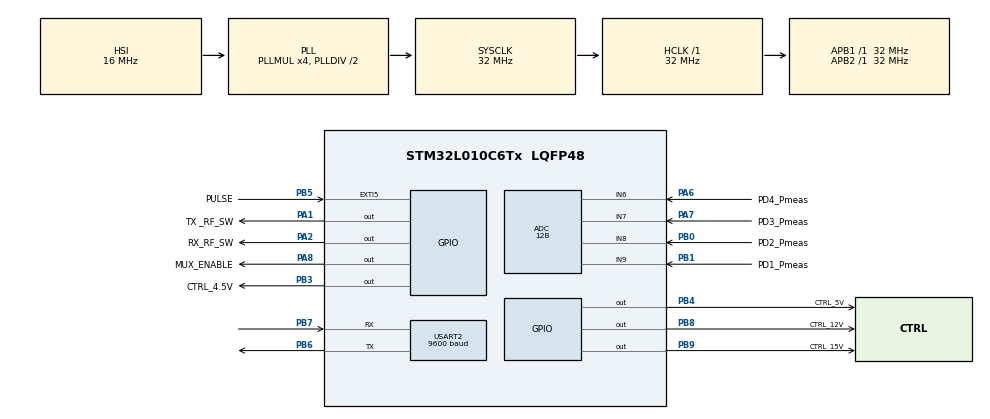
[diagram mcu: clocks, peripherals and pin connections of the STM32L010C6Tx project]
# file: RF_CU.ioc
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ADC.Channel-0\#ChannelRegularConversion=ADC_CHANNEL_6
ADC.Channel-1\#ChannelRegularConversion=ADC_CHANNEL_7
ADC.Channel-2\#ChannelRegularConversion=ADC_CHANNEL_8
ADC.Channel-3\#ChannelRegularConversion=ADC_CHANNEL_9
ADC.ClockPrescaler=ADC_CLOCK_SYNC_PCLK_DIV4
ADC.ContinuousConvMode=ENABLE
ADC.DMAContinuousRequests=DISABLE
ADC.DataAlign=ADC_DATAALIGN_RIGHT
ADC.DiscontinuousConvMode=DISABLE
ADC.EOCSelection=ADC_EOC_SINGLE_CONV
ADC.EnableAnalogWatchDog=false
ADC.ExternalTrigConv=ADC_SOFTWARE_START
ADC.ExternalTrigConvEdge=ADC_EXTERNALTRIGCONVEDGE_NONE
ADC.LowPowerAutoPowerOff=DISABLE
ADC.LowPowerAutoWait=DISABLE
ADC.LowPowerFrequencyMode=DISABLE
ADC.NbrOfConversion=4
ADC.NbrOfConversionFlag=1
ADC.Overrun=ADC_OVR_DATA_PRESERVED
ADC.OversamplingMode=DISABLE
ADC.Rank-0\#ChannelRegularConversion=1
ADC.Rank-1\#ChannelRegularConversion=2
ADC.Rank-2\#ChannelRegularConversion=3
ADC.Rank-3\#ChannelRegularConversion=4
ADC.Resolution=ADC_RESOLUTION_12B
ADC.SamplingTime=ADC_SAMPLETIME_160CYCLES_5
ADC.ScanConvMode=ADC_SCAN_DIRECTION_FORWARD
ADC.master=1
Dma.Request0=USART2_RX
Dma.Request1=USART2_TX
Dma.USART2_RX.0.Direction=DMA_PERIPH_TO_MEMORY
Dma.USART2_RX.0.Instance=DMA1_Channel5
Dma.USART2_RX.0.MemDataAlignment=DMA_MDATAALIGN_BYTE
Dma.USART2_RX.0.MemInc=DMA_MINC_ENABLE
Dma.USART2_RX.0.Mode=DMA_NORMAL
Dma.USART2_RX.0.PeriphDataAlignment=DMA_PDATAALIGN_BYTE
Dma.USART2_RX.0.PeriphInc=DMA_PINC_DISABLE
Dma.USART2_RX.0.Priority=DMA_PRIORITY_LOW
Dma.USART2_TX.1.Direction=DMA_MEMORY_TO_PERIPH
Dma.USART2_TX.1.Instance=DMA1_Channel4
Dma.USART2_TX.1.MemDataAlignment=DMA_MDATAALIGN_BYTE
Dma.USART2_TX.1.MemInc=DMA_MINC_ENABLE
Dma.USART2_TX.1.Mode=DMA_NORMAL
Dma.USART2_TX.1.PeriphDataAlignment=DMA_PDATAALIGN_BYTE
Dma.USART2_TX.1.PeriphInc=DMA_PINC_DISABLE
Dma.USART2_TX.1.Priority=DMA_PRIORITY_LOW
Mcu.Family=STM32L0
Mcu.Name=STM32L010C6Tx
Mcu.Package=LQFP48
NVIC.DMA1_Channel4_5_6_7_IRQn=true\:0\:0\:false\:false\:true\:false\:true
NVIC.EXTI4_15_IRQn=true\:0\:0\:false\:false\:true\:true\:true
NVIC.USART2_IRQn=true\:0\:0\:false\:false\:true\:true\:true
PA1.GPIO_Label=TX _RF_SW
PA1.GPIO_PuPd=GPIO_PULLDOWN
PA1.Signal=GPIO_Output
PA13.Mode=Serial_Wire
PA13.Signal=SYS_SWDIO
PA14.Mode=Serial_Wire
PA14.Signal=SYS_SWCLK
PA2.GPIO_Label=RX_RF_SW
PA2.GPIO_PuPd=GPIO_PULLDOWN
PA2.Signal=GPIO_Output
PA6.GPIO_Label=PD4_Pmeas
PA6.Mode=IN6
PA6.Signal=ADC_IN6
PA7.GPIO_Label=PD3_Pmeas
PA7.Mode=IN7
PA7.Signal=ADC_IN7
PA8.GPIO_Label=MUX_ENABLE
PA8.GPIO_PuPd=GPIO_PULLDOWN
PA8.Signal=GPIO_Output
PB0.GPIO_Label=PD2_Pmeas
PB0.Mode=IN8
PB0.Signal=ADC_IN8
PB1.GPIO_Label=PD1_Pmeas
PB1.Mode=IN9
PB1.Signal=ADC_IN9
PB3.GPIO_Label=CTRL_4.5V
PB3.GPIO_PuPd=GPIO_PULLDOWN
PB3.Signal=GPIO_Output
PB4.GPIO_Label=CTRL_5V
PB4.GPIO_PuPd=GPIO_PULLDOWN
PB4.Signal=GPIO_Output
PB5.GPIO_Label=PULSE
PB5.GPIO_ModeDefaultEXTI=GPIO_MODE_IT_RISING_FALLING
PB5.Signal=GPXTI5
PB6.Mode=Asynchronous
PB6.Signal=USART2_TX
PB7.Mode=Asynchronous
PB7.Signal=USART2_RX
PB8.GPIO_Label=CTRL_12V
PB8.Signal=GPIO_Output
PB9.GPIO_Label=CTRL_15V
PB9.Signal=GPIO_Output
PH0-OSC_IN.Mode=HSE-External-Oscillator
PH0-OSC_IN.Signal=RCC_OSC_IN
PH1-OSC_OUT.Mode=HSE-External-Oscillator
PH1-OSC_OUT.Signal=RCC_OSC_OUT
ProjectManager.HeapSize=0x200
ProjectManager.StackSize=0x400
ProjectManager.TargetToolchain=STM32CubeIDE
RCC.AHBFreq_Value=32000000
RCC.APB1Freq_Value=32000000
RCC.APB1TimFreq_Value=32000000
RCC.APB2Freq_Value=32000000
RCC.APB2TimFreq_Value=32000000
RCC.FLatency=FLASH_LATENCY_1
RCC.HCLKFreq_Value=32000000
RCC.HSE_VALUE=8000000
RCC.HSI16_VALUE=16000000
RCC.HSI_VALUE=16000000
RCC.LSE_VALUE=32768
RCC.MSI_VALUE=2097000
RCC.PLLMUL=RCC_PLLMUL_4
RCC.SYSCLKFreq_VALUE=32000000
RCC.SYSCLKSource=RCC_SYSCLKSOURCE_PLLCLK
RCC.VCOOutputFreq_Value=64000000
USART2.BaudRate=9600
USART2.DMADisableonRxErrorParam=ADVFEATURE_DMA_ENABLEONRXERROR
USART2.DataInvertParam=ADVFEATURE_DATAINV_DISABLE
USART2.MSBFirstParam=ADVFEATURE_MSBFIRST_DISABLE
USART2.Mode=MODE_TX_RX
USART2.OneBitSampling=UART_ONE_BIT_SAMPLE_DISABLE
USART2.OverSampling=UART_OVERSAMPLING_16
USART2.OverrunDisableParam=ADVFEATURE_OVERRUN_ENABLE
USART2.Parity=PARITY_NONE
USART2.RxPinLevelInvertParam=ADVFEATURE_RXINV_DISABLE
USART2.StopBits=STOPBITS_1
USART2.SwapParam=ADVFEATURE_SWAP_DISABLE
USART2.TxPinLevelInvertParam=ADVFEATURE_TXINV_DISABLE
USART2.VirtualMode=VM_ASYNC
USART2.WordLength=WORDLENGTH_8B
board=custom

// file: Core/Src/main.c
/* USER CODE BEGIN Header */
/**
 ******************************************************************************
 * @file           : main.c
 * @brief          : Main program body
 ******************************************************************************
 * @attention
 *
 * Copyright (c) 2023 STMicroelectronics.
 * All rights reserved.
 *
 * This software is licensed under terms that can be found in the LICENSE file
 * in the root directory of this software component.
 * If no LICENSE file comes with this software, it is provided AS-IS.
 *
 ******************************************************************************
 */

//#define TEST_CHIPS
//#define TEST_ADC
//#define TEST_ADC_ALL_MSG
//#define TEST_MODEM

/* USER CODE END Header */
#include "main.h"

/* USER CODE BEGIN Includes */
#include "mcal_GPIO.h"
#include "hal_HPLPRFSwitch.h"
#include "hal_PoweSensor.h"
#include "hal_ModemPulse.h"
#include "hal_PC.h"
#include "appcb_ModemPulse.h"
#include "appcb_PC.h"
#include "app_RFCU.h"

/* USER CODE END Includes */

ADC_HandleTypeDef hadc;

UART_HandleTypeDef huart2;
DMA_HandleTypeDef hdma_usart2_rx;
DMA_HandleTypeDef hdma_usart2_tx;

void SystemClock_Config(void);
static void MX_GPIO_Init(void);
static void MX_DMA_Init(void);
static void MX_ADC_Init(void);
static void MX_USART2_UART_Init(void);

/* USER CODE END 0 */

int main(void)
{
	/* USER CODE BEGIN 1 */
	uint8_t ui8TXCheck;
	/* USER CODE END 1 */

	/* MCU Configuration--------------------------------------------------------*/

	/* Reset of all peripherals, Initializes the Flash interface and the Systick. */
	HAL_Init();

	/* Configure the system clock */
	SystemClock_Config();

	/* Initialize all configured peripherals */
	MX_GPIO_Init();
	MX_DMA_Init();
	MX_ADC_Init();
	MX_USART2_UART_Init();
	/* USER CODE BEGIN 2 */
	MCAL_GPIO_EnableControl();
	HAL_ModemPulse_Init(PULSE_Pin,APP_ModemPulse_DetecEdgeCallback);
	HAL_PC_Init(APP_PC_RXCallback,APP_PC_TXCallback);

#ifdef TEST_CHIPS
	MCAL_GPIO_EnableControl();
#endif

	//#ifdef TEST_MODEM
	//	if (etEdgeType==FallingEdge)
	//	{
	//
	//		HAL_HPSwitch_Enable();
	//		HAL_LPSwitch_Disable();
	//		HAL_Delay(1000);
	//	}
	//	else if (etEdgeType==RisingEdge)
	//	{
	//
	//		HAL_HPSwitch_Disable();
	//		HAL_LPSwitch_Enable();
	//		HAL_Delay(1000);
	//	}
	//
	//#endif

#ifdef TEST_ADC

	g_aPCTransmitData[0]=0x55;
	g_aPCTransmitData[1]=0x14;
	g_aPCTransmitData[2]=0x13;

	HAL_PowerSensor1_GetValue(&hadc);
//	g_aADCValueReversed[0]=APP_RFCU_ConvertBytes(g_ui32AdcValue[0]);
	HAL_PowerSensor2_GetValue(&hadc);
//	g_aADCValueReversed[1]=APP_RFCU_ConvertBytes(g_ui32AdcValue[1]);
	HAL_PowerSensor3_GetValue(&hadc);
//	g_aADCValueReversed[2]=APP_RFCU_ConvertBytes(g_ui32AdcValue[2]);
	HAL_PowerSensor4_GetValue(&hadc);
//	g_aADCValueReversed[3]=APP_RFCU_ConvertBytes(g_ui32AdcValue[3]);
	//HAL_ADC_Stop(&hadc);
	APP_RFCU_SetBytebyByte(g_ui32AdcValue,g_aPCTransmitData);

//	App_ADCParser(g_aPCTransmitData);
	ui8TXCheck=APP_RFCU_CheckSum(g_aPCTransmitData, 20);

	if(ui8TXCheck==1)
	{
		HAL_PC_Write(&huart2 ,&hdma_usart2_tx,g_aPCTransmitData,20 );
		//			HAL_UART_Transmit_DMA(&huart2, g_aPCTransmitData, 20);
		//				__HAL_DMA_DISABLE_IT(&hdma_usart2_tx, DMA_IT_HT);
		while (g_ui8PCTXFlag == 0);
		g_ui8PCTXFlag = 0;

	}

#endif

#ifdef TEST_ADC_ALL_MSG
	uint32_t ui32adcvalue;
	g_aPCTransmitData[0]=0x55;
	g_aPCTransmitData[1]=0x14;
	g_aPCTransmitData[2]=0x13;

	uint32_t* pui32Sensor1Reading= (uint32_t*)&g_aPCTransmitData[3];
	uint32_t* pui32Sensor2Reading= (uint32_t*)&g_aPCTransmitData[7];
	uint32_t* pui32Sensor3Reading= (uint32_t*)&g_aPCTransmitData[11];
	uint32_t* pui32Sensor4Reading= (uint32_t*)&g_aPCTransmitData[15];

	HAL_PowerSensor1_GetValue(&hadc);
	ui32adcvalue=g_ui32AdcValue[0];
	*pui32Sensor1Reading=ui32adcvalue ;

	HAL_PowerSensor2_GetValue(&hadc);
	ui32adcvalue=g_ui32AdcValue[1];
	*pui32Sensor2Reading=&ui32adcvalue ;

	HAL_PowerSensor3_GetValue(&hadc);
	ui32adcvalue=g_ui32AdcValue[2];
	*pui32Sensor3Reading=&ui32adcvalue ;

	HAL_PowerSensor4_GetValue(&hadc);
	ui32adcvalue=g_ui32AdcValue[3];
	*pui32Sensor4Reading=&ui32adcvalue ;

	ui8TXCheck=APP_RFCU_CheckSum(g_aPCTransmitData, 20);
	if(ui8TXCheck==1)
	{
		HAL_PC_Write(&huart2 ,&hdma_usart2_tx,g_aPCTransmitData,20 );
		while (g_ui8PCTXFlag == 0);
		g_ui8PCTXFlag = 0;

	}

#endif
	/* USER CODE END 2 */

	/* Infinite loop */
	while (1)
	{

		/* USER CODE BEGIN 3 */
				APP_RFCU_Start();

//#ifdef TEST_ADC
//
//
//		HAL_PowerSensor1_GetValue(&hadc);
//		g_ui8SensorValue[0]=(uint8_t)(((uint32_t)g_ui32AdcValue[0]*SENSOR_MAX_VOLT_VALUE)/ADC_MAXIMUM_VALUE);
//		HAL_PowerSensor2_GetValue(&hadc);
//		g_ui8SensorValue[1]=(uint8_t)(((uint32_t)g_ui32AdcValue[1]*SENSOR_MAX_VOLT_VALUE)/ADC_MAXIMUM_VALUE);
//		HAL_PowerSensor3_GetValue(&hadc);
//		g_ui8SensorValue[2]=(uint8_t)(((uint32_t)g_ui32AdcValue[2]*SENSOR_MAX_VOLT_VALUE)/ADC_MAXIMUM_VALUE);
//		HAL_PowerSensor4_GetValue(&hadc);
//		g_ui8SensorValue[3]=(uint8_t)(((uint32_t)g_ui32AdcValue[3]*SENSOR_MAX_VOLT_VALUE)/ADC_MAXIMUM_VALUE);
//
//		HAL_PC_Write(&huart2 ,&hdma_usart2_tx,g_ui8SensorValue,4 );
//		while (g_ui8PCTXFlag == 0);
//		g_ui8PCTXFlag = 0;
//
//
//#endif

#ifdef TEST_MODEM

		if (etEdgeType==FallingEdge)
		{

			HAL_HPSwitch_Enable();
			HAL_LPSwitch_Disable();
			//HAL_Delay(1000);
		}
		else if (etEdgeType==RisingEdge)
		{

			HAL_HPSwitch_Disable();
			HAL_LPSwitch_Enable();
			//HAL_Delay(1000);
		}

#endif
	}
	/* USER CODE END 3 */
}

void SystemClock_Config(void)
{
	RCC_OscInitTypeDef RCC_OscInitStruct = {0};
	RCC_ClkInitTypeDef RCC_ClkInitStruct = {0};
	RCC_PeriphCLKInitTypeDef PeriphClkInit = {0};

	/** Configure the main internal regulator output voltage
	 */
	__HAL_PWR_VOLTAGESCALING_CONFIG(PWR_REGULATOR_VOLTAGE_SCALE1);
	/** Initializes the RCC Oscillators according to the specified parameters
	 * in the RCC_OscInitTypeDef structure.
	 */
	RCC_OscInitStruct.OscillatorType = RCC_OSCILLATORTYPE_HSI;
	RCC_OscInitStruct.HSIState = RCC_HSI_ON;
	RCC_OscInitStruct.HSICalibrationValue = RCC_HSICALIBRATION_DEFAULT;
	RCC_OscInitStruct.PLL.PLLState = RCC_PLL_ON;
	RCC_OscInitStruct.PLL.PLLSource = RCC_PLLSOURCE_HSI;
	RCC_OscInitStruct.PLL.PLLMUL = RCC_PLLMUL_4;
	RCC_OscInitStruct.PLL.PLLDIV = RCC_PLLDIV_2;
	if (HAL_RCC_OscConfig(&RCC_OscInitStruct) != HAL_OK)
	{
		Error_Handler();
	}
	/** Initializes the CPU, AHB and APB buses clocks
	 */
	RCC_ClkInitStruct.ClockType = RCC_CLOCKTYPE_HCLK|RCC_CLOCKTYPE_SYSCLK
			|RCC_CLOCKTYPE_PCLK1|RCC_CLOCKTYPE_PCLK2;
	RCC_ClkInitStruct.SYSCLKSource = RCC_SYSCLKSOURCE_PLLCLK;
	RCC_ClkInitStruct.AHBCLKDivider = RCC_SYSCLK_DIV1;
	RCC_ClkInitStruct.APB1CLKDivider = RCC_HCLK_DIV1;
	RCC_ClkInitStruct.APB2CLKDivider = RCC_HCLK_DIV1;

	if (HAL_RCC_ClockConfig(&RCC_ClkInitStruct, FLASH_LATENCY_1) != HAL_OK)
	{
		Error_Handler();
	}
	PeriphClkInit.PeriphClockSelection = RCC_PERIPHCLK_USART2;
	PeriphClkInit.Usart2ClockSelection = RCC_USART2CLKSOURCE_PCLK1;
	if (HAL_RCCEx_PeriphCLKConfig(&PeriphClkInit) != HAL_OK)
	{
		Error_Handler();
	}
}

static void MX_ADC_Init(void)
{

	ADC_ChannelConfTypeDef sConfig = {0};

	/** Configure the global features of the ADC (Clock, Resolution, Data Alignment and number of conversion)
	 */
	hadc.Instance = ADC1;
	hadc.Init.OversamplingMode = DISABLE;
	hadc.Init.ClockPrescaler = ADC_CLOCK_SYNC_PCLK_DIV4;
	hadc.Init.Resolution = ADC_RESOLUTION_12B;
	hadc.Init.SamplingTime = ADC_SAMPLETIME_160CYCLES_5;
	hadc.Init.ScanConvMode = ADC_SCAN_DIRECTION_FORWARD;
	hadc.Init.DataAlign = ADC_DATAALIGN_RIGHT;
	hadc.Init.ContinuousConvMode = ENABLE;
	hadc.Init.DiscontinuousConvMode = DISABLE;
	hadc.Init.ExternalTrigConvEdge = ADC_EXTERNALTRIGCONVEDGE_NONE;
	hadc.Init.ExternalTrigConv = ADC_SOFTWARE_START;
	hadc.Init.DMAContinuousRequests = DISABLE;
	hadc.Init.EOCSelection = ADC_EOC_SINGLE_CONV;
	hadc.Init.Overrun = ADC_OVR_DATA_PRESERVED;
	hadc.Init.LowPowerAutoWait = DISABLE;
	hadc.Init.LowPowerFrequencyMode = DISABLE;
	hadc.Init.LowPowerAutoPowerOff = DISABLE;
	if (HAL_ADC_Init(&hadc) != HAL_OK)
	{
		Error_Handler();
	}
	/** Configure for the selected ADC regular channel to be converted.
	 */
	sConfig.Channel = ADC_CHANNEL_6;
	sConfig.Rank = ADC_RANK_CHANNEL_NUMBER;
	if (HAL_ADC_ConfigChannel(&hadc, &sConfig) != HAL_OK)
	{
		Error_Handler();
	}
	/** Configure for the selected ADC regular channel to be converted.
	 */
	sConfig.Channel = ADC_CHANNEL_7;
	if (HAL_ADC_ConfigChannel(&hadc, &sConfig) != HAL_OK)
	{
		Error_Handler();
	}
	/** Configure for the selected ADC regular channel to be converted.
	 */
	sConfig.Channel = ADC_CHANNEL_8;
	if (HAL_ADC_ConfigChannel(&hadc, &sConfig) != HAL_OK)
	{
		Error_Handler();
	}
	/** Configure for the selected ADC regular channel to be converted.
	 */
	sConfig.Channel = ADC_CHANNEL_9;
	if (HAL_ADC_ConfigChannel(&hadc, &sConfig) != HAL_OK)
	{
		Error_Handler();
	}

}

static void MX_USART2_UART_Init(void)
{

	huart2.Instance = USART2;
	huart2.Init.BaudRate = 9600;
	huart2.Init.WordLength = UART_WORDLENGTH_8B;
	huart2.Init.StopBits = UART_STOPBITS_1;
	huart2.Init.Parity = UART_PARITY_NONE;
	huart2.Init.Mode = UART_MODE_TX_RX;
	huart2.Init.HwFlowCtl = UART_HWCONTROL_NONE;
	huart2.Init.OverSampling = UART_OVERSAMPLING_16;
	huart2.Init.OneBitSampling = UART_ONE_BIT_SAMPLE_DISABLE;
	huart2.AdvancedInit.AdvFeatureInit = UART_ADVFEATURE_NO_INIT;
	if (HAL_UART_Init(&huart2) != HAL_OK)
	{
		Error_Handler();
	}

}

static void MX_DMA_Init(void)
{

	/* DMA controller clock enable */
	__HAL_RCC_DMA1_CLK_ENABLE();

	/* DMA interrupt init */
	/* DMA1_Channel4_5_6_7_IRQn interrupt configuration */
	HAL_NVIC_SetPriority(DMA1_Channel4_5_6_7_IRQn, 0, 0);
	HAL_NVIC_EnableIRQ(DMA1_Channel4_5_6_7_IRQn);

}

static void MX_GPIO_Init(void)
{
	GPIO_InitTypeDef GPIO_InitStruct = {0};

	/* GPIO Ports Clock Enable */
	__HAL_RCC_GPIOH_CLK_ENABLE();
	__HAL_RCC_GPIOA_CLK_ENABLE();
	__HAL_RCC_GPIOB_CLK_ENABLE();

	/*Configure GPIO pin Output Level */
	HAL_GPIO_WritePin(GPIOA, TX__RF_SW_Pin|RX_RF_SW_Pin|MUX_ENABLE_Pin, GPIO_PIN_RESET);

	/*Configure GPIO pin Output Level */
	HAL_GPIO_WritePin(GPIOB, CTRL_4_5V_Pin|CTRL_5V_Pin|CTRL_12V_Pin|CTRL_15V_Pin, GPIO_PIN_RESET);

	/*Configure GPIO pins : TX__RF_SW_Pin RX_RF_SW_Pin MUX_ENABLE_Pin */
	GPIO_InitStruct.Pin = TX__RF_SW_Pin|RX_RF_SW_Pin|MUX_ENABLE_Pin;
	GPIO_InitStruct.Mode = GPIO_MODE_OUTPUT_PP;
	GPIO_InitStruct.Pull = GPIO_PULLDOWN;
	GPIO_InitStruct.Speed = GPIO_SPEED_FREQ_LOW;
	HAL_GPIO_Init(GPIOA, &GPIO_InitStruct);

	/*Configure GPIO pins : CTRL_4_5V_Pin CTRL_5V_Pin */
	GPIO_InitStruct.Pin = CTRL_4_5V_Pin|CTRL_5V_Pin;
	GPIO_InitStruct.Mode = GPIO_MODE_OUTPUT_PP;
	GPIO_InitStruct.Pull = GPIO_PULLDOWN;
	GPIO_InitStruct.Speed = GPIO_SPEED_FREQ_LOW;
	HAL_GPIO_Init(GPIOB, &GPIO_InitStruct);

	/*Configure GPIO pin : PULSE_Pin */
	GPIO_InitStruct.Pin = PULSE_Pin;
	GPIO_InitStruct.Mode = GPIO_MODE_IT_RISING_FALLING;
	GPIO_InitStruct.Pull = GPIO_NOPULL;
	HAL_GPIO_Init(PULSE_GPIO_Port, &GPIO_InitStruct);

	/*Configure GPIO pins : CTRL_12V_Pin CTRL_15V_Pin */
	GPIO_InitStruct.Pin = CTRL_12V_Pin|CTRL_15V_Pin;
	GPIO_InitStruct.Mode = GPIO_MODE_OUTPUT_PP;
	GPIO_InitStruct.Pull = GPIO_NOPULL;
	GPIO_InitStruct.Speed = GPIO_SPEED_FREQ_LOW;
	HAL_GPIO_Init(GPIOB, &GPIO_InitStruct);

	/* EXTI interrupt init*/
	HAL_NVIC_SetPriority(EXTI4_15_IRQn, 0, 0);
	HAL_NVIC_EnableIRQ(EXTI4_15_IRQn);

}

void Error_Handler(void)
{
	__disable_irq();
	while (1)
	{
	}
}
